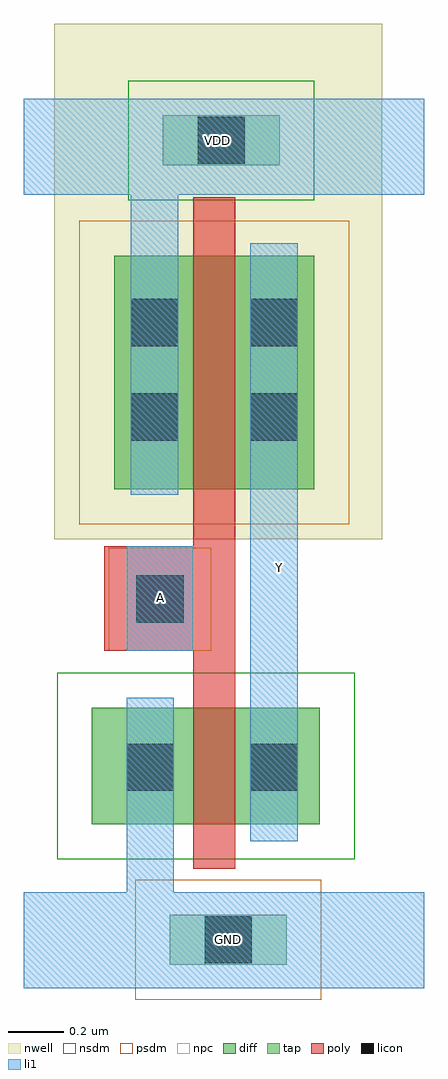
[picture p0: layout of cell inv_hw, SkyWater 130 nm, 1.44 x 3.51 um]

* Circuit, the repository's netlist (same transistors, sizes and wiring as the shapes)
* NGSPICE file created from inv_hw.ext - technology: sky130A

.subckt inv_hw Y A GND VDD
X0 Y A GND GND sky130_fd_pr__nfet_01v8 ad=0.128 pd=1.45 as=0.153 ps=1.57 w=0.42 l=0.15
X1 Y A VDD VDD sky130_fd_pr__pfet_01v8 ad=0.239 pd=2.25 as=0.239 ps=2.25 w=0.84 l=0.15
.ends

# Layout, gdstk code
import gdstk
lib = gdstk.Library(unit=1e-6, precision=1e-09)
def R(c, l, rs):  # rectangles x0, y0, x1, y1
    for r in rs: c.add(gdstk.rectangle(r[:2], r[2:], *l))
nwell = (64, 20)
diff = (65, 20)
tap = (65, 44)
poly = (66, 20)
licon = (66, 44)
li1 = (67, 20)
nsdm = (93, 44)
psdm = (94, 20)
npc = (95, 20)

inv_hw = lib.new_cell('inv_hw')
R(inv_hw, nwell, [(-0.5,0.82,0.68,2.675)])
R(inv_hw, diff, [(-0.365,-0.205,0.455,0.215), (-0.285,1,0.435,1.84)])
R(inv_hw, tap, [(-0.085,-0.71,0.335,-0.53), (-0.11,2.165,0.31,2.345)])
R(inv_hw, poly, [(0,-0.365,0.15,0.42), (-0.32,0.42,0.15,0.795), (0,0.795,0.15,2.05)])
R(inv_hw, licon, [(0.04,-0.705,0.21,-0.535), (-0.24,-0.085,-0.07,0.085), (0.205,-0.085,0.375,0.085), (-0.205,0.52,-0.035,0.69), (-0.225,1.175,-0.055,1.345), (0.205,1.175,0.375,1.345), (-0.225,1.515,-0.055,1.685), (0.205,1.515,0.375,1.685), (0.015,2.17,0.185,2.34)])
R(inv_hw, li1, [(-0.61,-0.795,0.83,-0.45), (-0.24,-0.45,-0.07,0.25), (0.205,-0.265,0.375,1.885), (-0.24,0.42,0,0.795), (-0.225,0.98,-0.055,2.06), (-0.61,2.06,0.83,2.405)])
R(inv_hw, nsdm, [(-0.49,-0.33,0.58,0.34), (-0.235,2.04,0.435,2.47)])
R(inv_hw, psdm, [(-0.21,-0.835,0.46,-0.405), (-0.41,0.875,0.56,1.965)])
R(inv_hw, npc, [(-0.305,0.42,0.065,0.79)])
inv_hw.add(gdstk.Label('Y', (0.31,0.72), layer=67, texttype=5))
inv_hw.add(gdstk.Label('A', (-0.12,0.61), layer=67, texttype=5))
inv_hw.add(gdstk.Label('GND', (0.125,-0.62), layer=67, texttype=5))
inv_hw.add(gdstk.Label('VDD', (0.085,2.255), layer=67, texttype=5))

lib.write_gds('inv_hw.gds')
